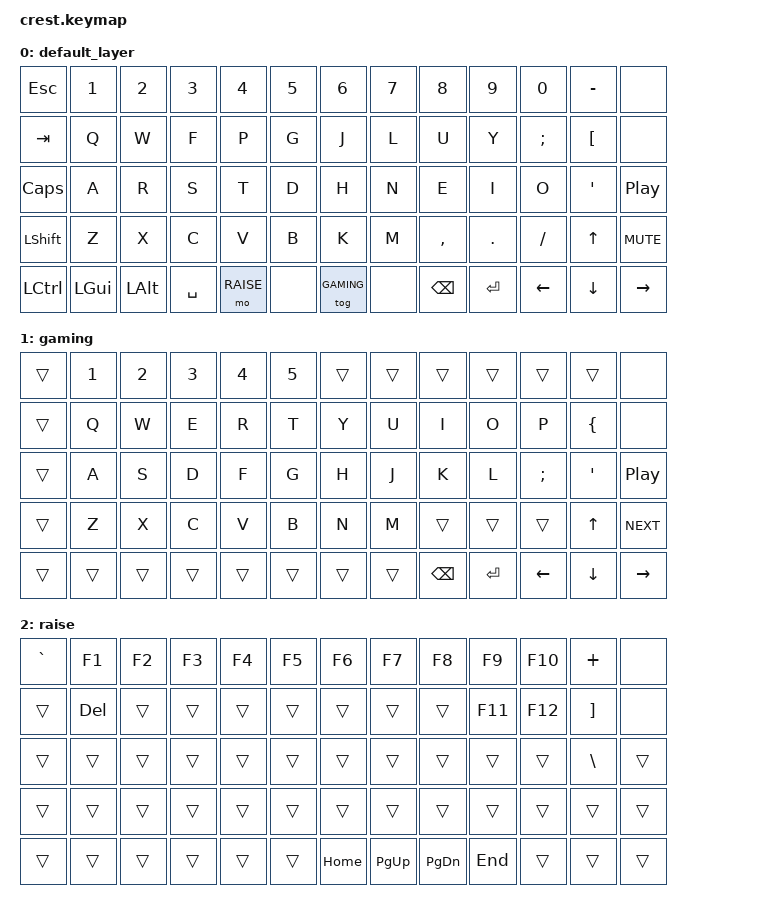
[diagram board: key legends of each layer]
#include <behaviors.dtsi>
#include <dt-bindings/zmk/keys.h>
#include <dt-bindings/zmk/bt.h>
#define DEFAULT 0
#define GAMING   1
#define RAISE   2
/ {

    keymap {
        compatible = "zmk,keymap";

        default_layer {
// ------------------------------------------------------------------------------------------------------------
// |   `   |  1  |  2  |  3   |  4   |  5   |                   |  6   |  7    |  8    |  9   |   0   |   -   |
// |  ESC  |  Q  |  W  |  E   |  R   |  T   |                   |  Y   |  U    |  I    |  O   |   P   |   [   |
// |  TAB  |  A  |  S  |  D   |  F   |  G   |                   |  H   |  J    |  K    |  L   |   ;   |   '   | media |
// | SHIFT |  Z  |  X  |  C   |  V   |  B   |  MUTE  |  |       |  N   |  M    |  ,    |  .   |   /   | up    | skip  |
//               | GUI | ALT  | CTRL | LOWER|  ENTER |  |       | RAISE| ???   | bksp  | enter| left  | down  | right |
            bindings = <
&kp ESC &kp N1 &kp N2   &kp N3   &kp N4    &kp N5                           &kp N6 &kp N7    &kp N8    &kp N9   &kp N0   &kp MINUS &none
&kp TAB   &kp Q  &kp W    &kp F    &kp P     &kp G                            &kp J  &kp L     &kp U     &kp Y    &kp SEMI    &kp LBKT &none
&kp CAPS   &kp A  &kp R    &kp S    &kp T     &kp D                            &kp H  &kp N     &kp E     &kp I    &kp O &kp APOS &kp C_PLAY_PAUSE
&kp LSHFT &kp Z  &kp X    &kp C    &kp V     &kp B                            &kp K  &kp M     &kp COMMA &kp DOT  &kp SLASH &kp UP &kp C_MUTE
&kp LCTRL &kp LGUI &kp LALT &kp SPACE &mo RAISE &none                       &tog GAMING &none &kp BSPC &kp RET  &kp LEFT &kp DOWN &kp RIGHT 
            >;
        };
        gaming {
// ------------------------------------------------------------------------------------------------------------
// |   `   |  1  |  2  |  3   |  4   |  5   |                   |  6   |  7    |  8    |  9   |   0   |   -   |
// |  ESC  |  Q  |  W  |  E   |  R   |  T   |                   |  Y   |  U    |  I    |  O   |   P   |   [   |
// |  TAB  |  A  |  S  |  D   |  F   |  G   |                   |  H   |  J    |  K    |  L   |   ;   |   '   | media |
// | SHIFT |  Z  |  X  |  C   |  V   |  B   |  MUTE  |  |       |  N   |  M    |  ,    |  .   |   /   | up    | skip  |
//               | GUI | ALT  | CTRL | LOWER|  ENTER |  |       | RAISE| ???   | bksp  | enter| left  | down  | right |
            bindings = <
    &trans &kp N1 &kp N2   &kp N3   &kp N4    &kp N5                           &trans &trans    &trans    &trans   &trans   &trans &none
    &trans   &kp Q  &kp W    &kp E    &kp R     &kp T                            &kp Y  &kp U     &kp I     &kp O    &kp P    &kp LBRC &none
    &trans   &kp A  &kp S    &kp D    &kp F     &kp G                            &kp H  &kp J     &kp K     &kp L    &kp SEMI &kp APOS &kp C_PLAY_PAUSE
    &trans &kp Z  &kp X    &kp C    &kp V     &kp B                            &kp N  &kp M     &trans &trans  &trans &kp UP &kp C_NEXT
    &trans     &trans  &trans &trans &trans &trans                            &trans  &trans     &kp BSPC  &kp RET  &kp LEFT &kp DOWN &kp RIGHT
            >;
        };
        raise {
// ------------------------------------------------------------------------------------------------------------
// |   `   |  1  |  2  |  3   |  4   |  5   |                   |  6   |  7    |  8    |  9   |   0   |   -   |
// |  ESC  |  Q  |  W  |  E   |  R   |  T   |                   |  Y   |  U    |  I    |  O   |   P   |   [   |
// |  TAB  |  A  |  S  |  D   |  F   |  G   |                   |  H   |  J    |  K    |  L   |   ;   |   '   | media |
// | SHIFT |  Z  |  X  |  C   |  V   |  B   |  MUTE  |  |       |  N   |  M    |  ,    |  .   |   /   | up    | skip  |
//               | GUI | ALT  | CTRL | LOWER|  ENTER |  |       | RAISE| ???   | bksp  | enter| left  | down  | right |
            bindings = <
    &kp GRAVE &kp F1  &kp F2  &kp F3  &kp F4  &kp F5                          &kp F6  &kp F7  &kp F8  &kp F9  &kp F10  &kp PLUS  &none
    &trans  &kp DEL  &trans  &trans  &trans  &trans                            &trans  &trans  &trans  &kp F11  &kp F12  &kp RBKT  &none
    &trans  &trans  &trans  &trans  &trans  &trans                            &trans  &trans  &trans  &trans  &trans  &kp BSLH  &trans
    &trans  &trans  &trans  &trans  &trans  &trans                            &trans  &trans  &trans  &trans  &trans  &trans  &trans
    &trans  &trans  &trans  &trans  &trans  &trans                            &kp HOME &kp PG_UP  &kp PG_DN  &kp END  &trans  &trans  &trans
            >;
        };
    };
};
